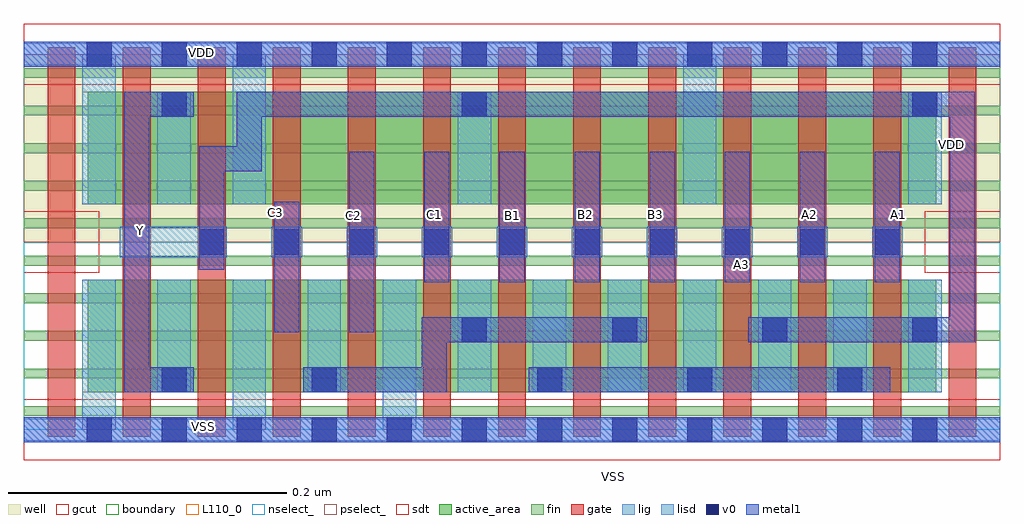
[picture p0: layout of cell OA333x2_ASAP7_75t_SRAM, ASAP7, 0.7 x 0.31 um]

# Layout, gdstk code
import gdstk
lib = gdstk.Library(unit=1e-6, precision=2.5e-10)
def R(c, l, rs):  # rectangles x0, y0, x1, y1
    for r in rs: c.add(gdstk.rectangle(r[:2], r[2:], *l))
def A(c, l, x, y, w, h, nx, ny, dx, dy):  # array of equal rectangles
    R(c, l, [(x+i*dx, y+j*dy, x+i*dx+w, y+j*dy+h) for i in range(nx) for j in range(ny)])
def P(c, l, *ps):  # polygons
    for p in ps: c.add(gdstk.Polygon(p, *l))
well = (1, 0)
fin = (2, 0)
gate = (7, 0)
gcut = (10, 0)
active_area = (11, 0)
nselect_ = (12, 0)
pselect_ = (13, 0)
lig = (16, 0)
lisd = (17, 0)
v0 = (18, 0)
metal1 = (19, 0)
sdt = (88, 0)
boundary = (100, 0)
L110_0 = (110, 0)

oa333x2_asap7_75t_sram = lib.new_cell('OA333x2_ASAP7_75t_SRAM')
R(oa333x2_asap7_75t_sram, well, [(0,0.135,0.216,0.27), (0.108,0.135,0.702,0.27)])
A(oa333x2_asap7_75t_sram, fin, 0, 0.01, 0.216, 0.007, 1, 10, 0, 0.027)
A(oa333x2_asap7_75t_sram, fin, 0.108, 0.01, 0.594, 0.007, 1, 10, 0, 0.027)
A(oa333x2_asap7_75t_sram, gate, 0.017, -0.005, 0.02, 0.28, 3, 1, 0.054, 0)
A(oa333x2_asap7_75t_sram, gate, 0.179, -0.005, 0.02, 0.28, 10, 1, 0.054, 0)
R(oa333x2_asap7_75t_sram, gate, [(0.125,-0.005,0.145,0.275), (0.179,-0.005,0.199,0.275)])
R(oa333x2_asap7_75t_sram, gcut, [(0,-0.022,0.216,0.022), (0.108,-0.022,0.702,0.022), (0.108,-0.022,0.206,0.022), (0.604,-0.022,0.702,0.022), (0,0.113,0.054,0.157), (0.648,0.113,0.702,0.157), (0,0.248,0.216,0.292), (0.108,0.248,0.702,0.292), (0.108,0.248,0.206,0.292), (0.604,0.248,0.702,0.292)])
R(oa333x2_asap7_75t_sram, active_area, [(0.046,0.027,0.656,0.108), (0.046,0.162,0.656,0.243)])
R(oa333x2_asap7_75t_sram, nselect_, [(0,0,0.702,0.135)])
R(oa333x2_asap7_75t_sram, pselect_, [(0,0.135,0.216,0.27), (0.108,0.135,0.702,0.27)])
A(oa333x2_asap7_75t_sram, lig, 0.178, 0.124, 0.022, 0.022, 9, 1, 0.054, 0)
R(oa333x2_asap7_75t_sram, lig, [(0,-0.008,0.216,0.008), (0.108,-0.008,0.702,0.008), (0.069,0.124,0.146,0.146), (0,0.262,0.216,0.278), (0.108,0.262,0.702,0.278)])
A(oa333x2_asap7_75t_sram, lisd, 0.042, 0, 0.024, 0.108, 3, 1, 0.108, 0)
A(oa333x2_asap7_75t_sram, lisd, 0.096, 0.027, 0.024, 0.081, 3, 1, 0.108, 0)
A(oa333x2_asap7_75t_sram, lisd, 0.366, 0.027, 0.024, 0.081, 6, 1, 0.054, 0)
R(oa333x2_asap7_75t_sram, lisd, [(0.042,0.162,0.066,0.27), (0.096,0.162,0.12,0.243), (0.15,0.162,0.174,0.27), (0.312,0.162,0.336,0.243), (0.474,0.162,0.498,0.27), (0.636,0.162,0.66,0.243)])
A(oa333x2_asap7_75t_sram, v0, 0.045, -0.009, 0.018, 0.018, 12, 2, 0.054, 0.27)
A(oa333x2_asap7_75t_sram, v0, 0.369, 0.027, 0.018, 0.018, 3, 1, 0.108, 0)
A(oa333x2_asap7_75t_sram, v0, 0.315, 0.063, 0.018, 0.018, 4, 1, 0.108, 0)
A(oa333x2_asap7_75t_sram, v0, 0.126, 0.126, 0.018, 0.018, 10, 1, 0.054, 0)
R(oa333x2_asap7_75t_sram, v0, [(0.099,0.027,0.117,0.045), (0.207,0.027,0.225,0.045), (0.099,0.225,0.117,0.243), (0.315,0.225,0.333,0.243), (0.639,0.225,0.657,0.243)])
A(oa333x2_asap7_75t_sram, metal1, 0.288, 0.106, 0.018, 0.094, 7, 1, 0.054, 0)
R(oa333x2_asap7_75t_sram, metal1, [(0,-0.009,0.702,0.009), (0.363,0.027,0.623,0.045), (0.18,0.07,0.198,0.164), (0.234,0.07,0.252,0.2), (0,0.261,0.702,0.279)])
P(oa333x2_asap7_75t_sram, metal1, [(0.122,0.045),(0.09,0.045),(0.09,0.225),(0.122,0.225),(0.122,0.243),(0.072,0.243),(0.072,0.027),(0.122,0.027)],
  [(0.684,0.243),(0.153,0.243),(0.153,0.204),(0.126,0.204),(0.126,0.115),(0.144,0.115),(0.144,0.186),(0.171,0.186),(0.171,0.225),(0.666,0.225),(0.666,0.081),(0.521,0.081),(0.521,0.063),(0.684,0.063)],
  [(0.448,0.081),(0.286,0.081),(0.286,0.045),(0.201,0.045),(0.201,0.027),(0.304,0.027),(0.304,0.063),(0.448,0.063)])
A(oa333x2_asap7_75t_sram, sdt, 0.042, 0.027, 0.024, 0.081, 3, 2, 0.054, 0.135)
A(oa333x2_asap7_75t_sram, sdt, 0.15, 0.027, 0.024, 0.081, 10, 1, 0.054, 0)
A(oa333x2_asap7_75t_sram, sdt, 0.15, 0.162, 0.024, 0.081, 4, 1, 0.162, 0)
R(oa333x2_asap7_75t_sram, boundary, [(0,0,0.216,0.27), (0.108,0,0.702,0.27)])
R(oa333x2_asap7_75t_sram, L110_0, [(0,0,0.216,0.27), (0.108,0,0.702,0.27)])
oa333x2_asap7_75t_sram.add(gdstk.Label('VSS', (0.424,-0.039), layer=3, texttype=251))
oa333x2_asap7_75t_sram.add(gdstk.Label('VDD', (0.667,0.205), layer=1, texttype=251))
oa333x2_asap7_75t_sram.add(gdstk.Label('A3', (0.516,0.119), layer=19, texttype=251))
oa333x2_asap7_75t_sram.add(gdstk.Label('A2', (0.565,0.155), layer=19, texttype=251))
oa333x2_asap7_75t_sram.add(gdstk.Label('C2', (0.237,0.154), layer=19, texttype=251))
oa333x2_asap7_75t_sram.add(gdstk.Label('VSS', (0.129,0.002), layer=19, texttype=251))
oa333x2_asap7_75t_sram.add(gdstk.Label('VDD', (0.128,0.271), layer=19, texttype=251))
oa333x2_asap7_75t_sram.add(gdstk.Label('A1', (0.629,0.155), layer=19, texttype=251))
oa333x2_asap7_75t_sram.add(gdstk.Label('B1', (0.351,0.154), layer=19, texttype=251))
oa333x2_asap7_75t_sram.add(gdstk.Label('B2', (0.404,0.155), layer=19, texttype=251))
oa333x2_asap7_75t_sram.add(gdstk.Label('B3', (0.454,0.155), layer=19, texttype=251))
oa333x2_asap7_75t_sram.add(gdstk.Label('C3', (0.181,0.156), layer=19, texttype=251))
oa333x2_asap7_75t_sram.add(gdstk.Label('C1', (0.295,0.155), layer=19, texttype=251))
oa333x2_asap7_75t_sram.add(gdstk.Label('Y', (0.084,0.143), layer=19, texttype=251))

lib.write_gds('OA333x2_ASAP7_75t_SRAM.gds')
